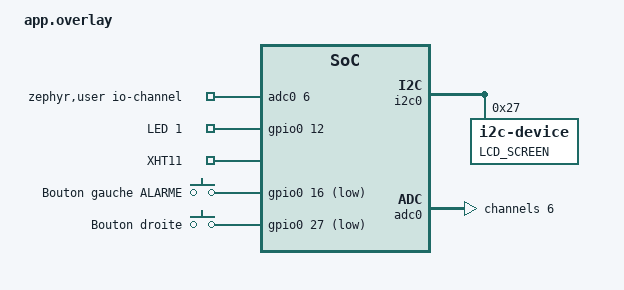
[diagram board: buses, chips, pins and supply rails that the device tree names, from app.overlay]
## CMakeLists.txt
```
# SPDX-License-Identifier: Apache-2.0

cmake_minimum_required(VERSION 3.20.0)

find_package(Zephyr REQUIRED HINTS $ENV{ZEPHYR_BASE})
project(hello_world)


target_sources(app PRIVATE src/main.c src/lcd_screen_i2c.c)
```

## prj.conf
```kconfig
CONFIG_ESP32_USE_UNSUPPORTED_REVISION=y
CONFIG_I2C=y  
CONFIG_SENSOR=y
CONFIG_ADC=y
CONFIG_GPIO=y
```

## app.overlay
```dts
/ {  


	zephyr,user {
        io-channels =
            <&adc0 6>;
    };
	

	gpio_keys {
		compatible = "gpio-keys";
		ledyellow: led_yellow {
		gpios = <&gpio0 12 GPIO_ACTIVE_HIGH>;
		label = "LED 1";
								};

		dht11: dht11 {   // dht11 = capteur d'humidité et température  
			compatible = "aosong,dht";
			status = "okay";
			dio-gpios = <&gpio0 17 GPIO_ACTIVE_LOW>;
			label = "XHT11";
		};
	};
	
	aliases {
		led-yellow = &ledyellow;
		lcd-screen = &lcdscreen;
		bouton-gauche = &button0;
		bouton-droite = &button1;

	};

	buttons {
		compatible = "gpio-keys";

		button0: button_0 {
		gpios = <&gpio0 16 (GPIO_PULL_UP | GPIO_ACTIVE_LOW)>;
		label = "Bouton gauche ALARME";
							};

		button1: button_1 {
			gpios = <&gpio0 27 (GPIO_PULL_UP | GPIO_ACTIVE_LOW)>;
			label = "Bouton droite";
								};
	};


}; // fin du noeud root


// ci-dessous, en dehors du noeud root car existe déjà dans la board


&i2c0 {
	lcdscreen: lcd_screen@27{
		compatible = "i2c-device";
		reg = <0x27>;
		label = "LCD_SCREEN";
	};

};

&adc0 {   //(capteur d'humidité analogique)
	status = "okay";
	#address-cells = <1>;
	#size-cells = <0>;

	channel@6 {
		reg = <6>;
		zephyr,gain = "ADC_GAIN_1_4";
		zephyr,reference = "ADC_REF_INTERNAL";
		zephyr,acquisition-time = <ADC_ACQ_TIME_DEFAULT>;
		zephyr,resolution = <12>;
	};
};
```

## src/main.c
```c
#include "lcd_screen_i2c.h"
#include <stdio.h>
#include <zephyr/kernel.h>
#include <zephyr/drivers/i2c.h>
#include <zephyr/drivers/gpio.h>
#include <zephyr/devicetree.h>
#include <zephyr/drivers/sensor.h>
#include <zephyr/sys/printk.h>
#include <zephyr/drivers/adc.h>
#include <stdint.h>
#include <inttypes.h>
#include <stddef.h>
#include <zephyr/sys/util.h>
#include <zephyr/device.h>
#include <zephyr/drivers/gpio/gpio_utils.h>
#include <zephyr/drivers/gpio.h>

#define LED_YELLOW_NODE DT_ALIAS(led_yellow)
#define LCD_SCREEN_NODE DT_ALIAS(lcd_screen)
#define BOUTON_GAUCHE_NODE DT_ALIAS(bouton_gauche)
#define BOUTON_DROITE_NODE DT_ALIAS(bouton_droite)

#define DT_SPEC_AND_COMMA(node_id, prop, idx) \
	ADC_DT_SPEC_GET_BY_IDX(node_id, idx),

static const struct i2c_dt_spec lcd_screen_dev = I2C_DT_SPEC_GET(LCD_SCREEN_NODE);
const struct device *const dht11 = DEVICE_DT_GET_ONE(aosong_dht);
static const struct adc_dt_spec adc_channels[] = {DT_FOREACH_PROP_ELEM(DT_PATH(zephyr_user), io_channels, DT_SPEC_AND_COMMA)};
const struct gpio_dt_spec led_yellow_gpio = GPIO_DT_SPEC_GET_OR(LED_YELLOW_NODE, gpios, {0});
static struct gpio_dt_spec bouton_G = GPIO_DT_SPEC_GET_OR(BOUTON_GAUCHE_NODE, gpios, {0});
static struct gpio_dt_spec bouton_D = GPIO_DT_SPEC_GET_OR(BOUTON_DROITE_NODE, gpios, {0});
static struct gpio_callback button_cb_data;

struct sensor_value temperature;
struct sensor_value humidity;


volatile bool flag_etat = 0; 

// FONCTIONS 
void button_pressed(const struct device *dev, struct gpio_callback *cb,
		    uint32_t pins)
{
	printk("Button pressed at %" PRIu32 "\n", k_cycle_get_32());

	flag_etat = 1;

}


// ##############################################################################################
//  MAIN #########################################################################################

int main()
{
	

	// Initialisation des GPIOs
		gpio_pin_configure_dt(&led_yellow_gpio, GPIO_OUTPUT_HIGH);
		gpio_pin_configure_dt(&bouton_G, GPIO_INPUT);
		gpio_pin_configure_dt(&bouton_D, GPIO_INPUT);

		gpio_init_callback(&button_cb_data, button_pressed, 16);

	// Initialisation périphériques
		init_lcd(&lcd_screen_dev);

	// affichage de messages sur l'écran LCD, par appel des MACRO définits dans le .h de l'écran lcd
		write_lcd(&lcd_screen_dev, HELLO_MSG, LCD_LINE_1);
		

	// déclaration utiles pour l'ADC (capteur d'humidité analogique) et le DHT11 (capteur humidité et temp , numérique):

		
		uint16_t buf;
		int temperature_ = 0;
		int humidite_ = 0;
		int err;

		struct adc_sequence sequence = {
			.buffer = &buf,
			/* buffer size in bytes, not number of samples */
			.buffer_size = sizeof(buf),
		};

	/* configuration des channels pour l'ADC*/
		for (size_t i = 0U; i < ARRAY_SIZE(adc_channels); i++)
		{
			if (!adc_is_ready_dt(&adc_channels[i]))
			{
				printk("ADC controller device %s not ready\n", adc_channels[i].dev->name);
				return 0;
			}

			err = adc_channel_setup_dt(&adc_channels[i]);
			if (err < 0)
			{
				printk("Could not setup channel #%d (%d)\n", i, err);
				return 0;
			}
		}

	while (1)
	{
		// interruption en cas de bouton gauche pressé, avec affichage d'un message sur l'écran LCD:
		int a = gpio_pin_get_dt(&bouton_G);

		if ( a >= 1 ){
			write_lcd(&lcd_screen_dev, BOUTON_PRESSE_MESSAGE, LCD_LINE_1);

		}

		// HUMIDITE PAR L'ADC ###########

		uint32_t count = 0;

		printk("ADC reading[%u]:\n");
		for (size_t i = 0U; i < ARRAY_SIZE(adc_channels); i++)
		{
			int32_t val_mv;

			printk("- %s, channel %d: ",
				   adc_channels[i].dev->name,
				   adc_channels[i].channel_id);

			(void)adc_sequence_init_dt(&adc_channels[i], &sequence);

			err = adc_read_dt(&adc_channels[i], &sequence);
			if (err < 0)
			{
				printk("Could not read (%d)\n", err);
				continue;
			}

			if (adc_channels[i].channel_cfg.differential)
			{
				val_mv = (int32_t)((int16_t)buf);
			}
			else
			{
				val_mv = (int32_t)buf;
			}
			printk("%" PRId32, val_mv);

			/* conversion to mV may not be supported, skip if not */

			printk(" = %" PRId32 " mV\n", val_mv);
		}

		// TEMP ET HUMIDITE PAR LE DHT11 ###########

		sensor_sample_fetch(dht11);
		sensor_channel_get(dht11, SENSOR_CHAN_AMBIENT_TEMP, &temperature);
		sensor_channel_get(dht11, SENSOR_CHAN_HUMIDITY, &humidity);

		temperature_ = sensor_value_to_double(&temperature);
		humidite_ = sensor_value_to_double(&humidity);

		printf("RELEVE: \n");
		printf("temperature = %d", temperature_);
		printf("\n");
		printf("humidite = %d", humidite_);
		printf("\n");

		k_sleep(K_SECONDS(10)); // PAUSE du système durant 10 secondes pour que le relevé et affichage se fasse toutes les 10sec

	} // fin du while

} // fin du main
```

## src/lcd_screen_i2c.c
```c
#include "lcd_screen_i2c.h"
#include <zephyr/kernel.h>
#include <zephyr/drivers/i2c.h>


static void lcd_toggle_enable(const struct i2c_dt_spec *dev_lcd_screen, uint8_t bits);
static void lcd_byte(const struct i2c_dt_spec *dev_lcd_screen, uint8_t bits, uint8_t mode);

void init_lcd(const struct i2c_dt_spec *dev_lcd_screen)
{
    lcd_byte(dev_lcd_screen, 0x33, LCD_CMD);
    lcd_byte(dev_lcd_screen, 0x32, LCD_CMD);
    lcd_byte(dev_lcd_screen, 0x06, LCD_CMD);
    lcd_byte(dev_lcd_screen, 0x0c, LCD_CMD);
    lcd_byte(dev_lcd_screen, 0x28, LCD_CMD);
    lcd_byte(dev_lcd_screen, 0x01, LCD_CMD);
    write_lcd(dev_lcd_screen, HELLO_MSG, LCD_LINE_1);
    write_lcd(dev_lcd_screen, ZEPHYR_MSG, LCD_LINE_2);
}

static void lcd_byte(const struct i2c_dt_spec *dev_lcd_screen, uint8_t bits, uint8_t mode)
{
    int ret = 0;
    uint8_t bits_high = mode | (bits & 0xf0) | LCD_BACKLIGHT;
    uint8_t bits_low = mode | ((bits << 4) & 0xf0) | LCD_BACKLIGHT;
    ret = i2c_write_dt(dev_lcd_screen, &bits_high, sizeof(bits_high));
    if (ret != 0)
    {
        printk("ERROR while writing to I2C");
    }
    lcd_toggle_enable(dev_lcd_screen, bits_high);

    ret = i2c_write_dt(dev_lcd_screen, &bits_low, sizeof(bits_low));
    if (ret != 0)
    {
        printk("ERROR while writing to I2C");
    }
    lcd_toggle_enable(dev_lcd_screen, bits_low);
}

void write_lcd(const struct i2c_dt_spec *dev_lcd_screen, const char *msg, uint8_t line)
{
    lcd_byte(dev_lcd_screen, line, LCD_CMD);

    // Todo: fill the array with space at the end to complete the line

    if (strlen(msg) > LCD_WIDTH)
    {
        return;
    }
    for (uint8_t i = 0; i < strlen(msg); i++)
    {
        lcd_byte(dev_lcd_screen, msg[i], LCD_CHR);
    }
}

static void lcd_toggle_enable(const struct i2c_dt_spec *dev_lcd_screen, uint8_t bits)
{
    int ret = 0;
    k_sleep(K_MSEC(5));
    uint8_t bits1 = bits | LCD_ENABLE;
    ret = i2c_write_dt(dev_lcd_screen, &bits1, sizeof(bits1));
    if (ret != 0)
    {
        printk("ERROR while writing to I2C");
    }
    k_sleep(K_MSEC(5));
    uint8_t bits2 = bits & ~LCD_ENABLE;
    ret = i2c_write_dt(dev_lcd_screen, &bits2, sizeof(bits2));
    if (ret != 0)
    {
        printk("ERROR while writing to I2C");
    }
    k_sleep(K_MSEC(5));
}
```

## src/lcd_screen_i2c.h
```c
/**
 * Author: Vivien Debuchy
 * Simple library for LCD-1602 I2C
 * Based on https://github.com/sterlingbeason/LCD-1602-I2C
 */

#ifndef INC_LDC_SCREEN_I2C_H_
#define INC_LDC_SCREEN_I2C_H_

#include <zephyr/types.h>

struct i2c_dt_spec;


#define LCD_BACKLIGHT 0x08
#define LCD_CMD 0x00
#define LCD_CHR 0x01
#define LCD_ENABLE 0b00000100
#define LCD_LINE_1 0x80 // Select line 1
#define LCD_LINE_2 0xc0 // Select line 2
#define LCD_WIDTH 16    // Max number of carac per lines

#define HELLO_MSG "exo2"
#define ZEPHYR_MSG "Zephyr is cool"
#define BOUTON_PRESSE_MESSAGE "Bouton presse"

#define START_ALERT_MONITORING_MSG_1 "Alarm"
#define START_ALERT_MONITORING_MSG_2 "Protection"

#define INTRUDER_MSG_1 "INTRUDER"
#define INTRUDER_MSG_2 "LEAVE !"

void init_lcd(const struct i2c_dt_spec *dev_lcd_screen);
void write_lcd(const struct i2c_dt_spec *dev_lcd_screen, const char *msg, uint8_t line);
//void write_lcd_clear(const struct i2c_dt_spec *dev_lcd_screen, const char *msg, uint8_t line);   FONCTION RESTANTE A DEFINIR DANS LE .C

#endif // INC_LDC_SCREEN_I2C_H_
```
